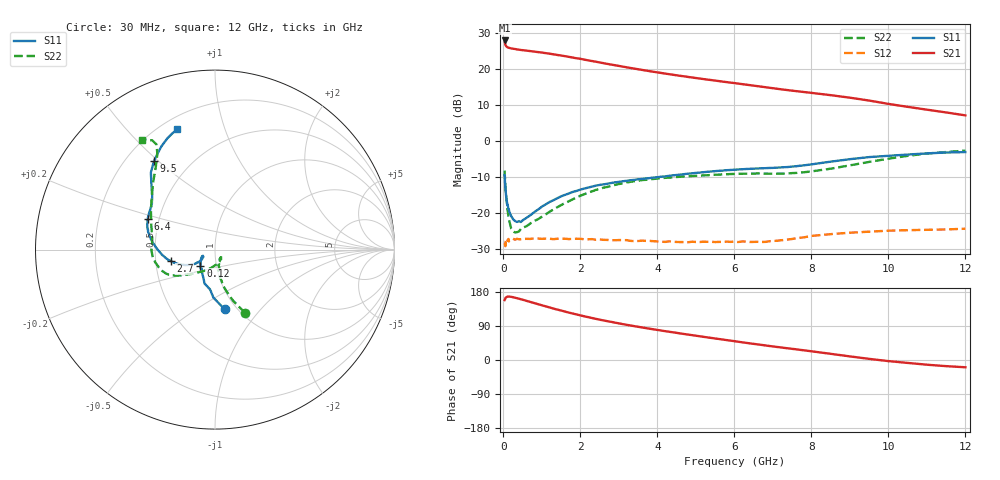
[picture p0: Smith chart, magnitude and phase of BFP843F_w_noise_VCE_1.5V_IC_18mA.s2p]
! Infineon Technologies  Discrete & RF Semiconductors
! BFP843F
! VCE =  1.5 V,  IC =  18 mA
! Common Emitter S-Parameters:  Aug 2013
# GHz  S  MA  R  50
!  f  S11  S21  S12  S22
! GHz  MAG  ANG  MAG  ANG  MAG  ANG  MAG  ANG
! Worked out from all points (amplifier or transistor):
!   103 points, 30 MHz to 12 GHz, reference 50 ohm
!   highest |S21| = 27.8 dB at 30 MHz (marker M1)
!   |S21| within 3 dB of that: start of sweep to 735.2 MHz
!   unconditionally stable (mu >= 1): 136.3 MHz to end of sweep
!   at 400 MHz: K = 1.02, MAG = 25.5 dB, |S12| = -27.2 dB
!   at 3.7 GHz: K = 1.21, MAG = 20.8 dB, |S12| = -27.7 dB
!   at 12 GHz: K = 1.24, MAG = 12.7 dB, |S12| = -24.3 dB
!   lowest NFmin = 0.88 dB at 450 MHz
!   S11 on the Smith chart (normalised r, x): 30 MHz: 0.88, -0.66; 120 MHz: 0.84, -0.15; 2.7 GHz: 0.60, -0.08; 6.4 GHz: 0.43, +0.18; 9.5 GHz: 0.32, +0.48; 12 GHz: 0.27, +0.70
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0.03  0.3365 -80.9  24.64 158.1  0.0364 27.2  0.3896 -64.7
0.04  0.2676 -91.9  22.73 159.9  0.0378 21.0  0.3004 -70.6
0.05  0.2234 -97.1  21.54 163.1  0.0349 19.4  0.2368 -74.9
0.06  0.1976 -107.2  21.02 164.4  0.0407 10.3  0.2019 -77.7
0.08  0.1563 -116.4  20.32 166.1  0.0424 12.0  0.1538 -80.2
0.12  0.1209 -132.5  19.7 167.3  0.0414 9.8  0.099 -76.5
0.15  0.1055 -138.9  19.46 167.4  0.042 6.2  0.0784 -74.2
0.25  0.0824 -152.2  18.93 165.6  0.0444 3.5  0.0564 -59.9
0.9  0.1123 -142.8  17.01 147.2  0.0445 1.2  0.0826 -84.0
1.3  0.1511 -147.5  15.84 135.7  0.0437 0.7  0.1125 -107.5
1.7  0.1877 -152.7  14.61 125.1  0.0438 0.5  0.1461 -122.4
2.1  0.2189 -158.3  13.37 115.3  0.0435 -0.4  0.1828 -132.9
2.7  0.2554 -165.8  11.66 102.4  0.0426 0.8  0.2307 -142.1
3.4  0.2889 -173.0  10.04 89.3  0.041 1.6  0.2774 -148.7
4.1  0.3203 -179.9  8.736 77.7  0.0402 2.8  0.3046 -154.3
5.1  0.365 169.7  7.314 62.6  0.0398 7.0  0.3304 -163.9
6.1  0.4027 159.5  6.229 48.2  0.0398 11.3  0.3504 -174.8
6.4  0.4108 155.8  5.928 43.9  0.0399 12.4  0.3538 -178.4
8.5  0.5165 133.4  4.307 16.3  0.0512 21.4  0.4129 149.8
9.5  0.5978 124.7  3.625 3.0  0.0554 18.4  0.5126 132.1
10.5  0.6477 117.5  2.966 -7.7  0.0581 17.3  0.6217 121.1
12  0.7014 107.4  2.261 -19.2  0.0609 18.6  0.7344 123.4
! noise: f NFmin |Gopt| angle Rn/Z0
0.45  0.88  0.03  174  0.07
0.9  0.88  0.04  164  0.08
1.5  0.92  0.05  160  0.09
1.9  0.96  0.06  161  0.09
2.4  1  0.08  167  0.1
3.5  1.05  0.11  175  0.15
5.5  1.15  0.2  -150  0.21
10  1.67  0.38  -106  0.32
